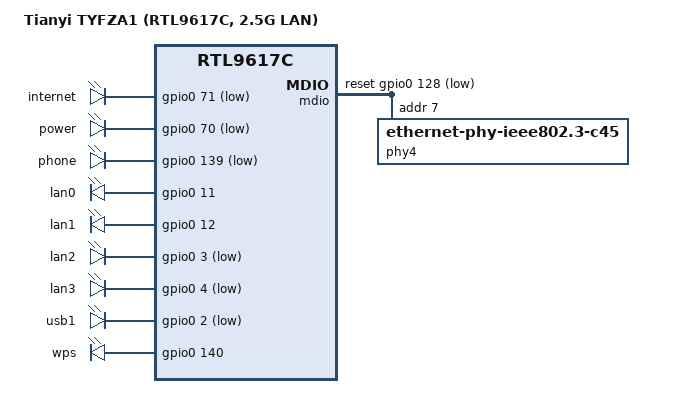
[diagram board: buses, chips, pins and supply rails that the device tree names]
// SPDX-License-Identifier: GPL-2.0-only
// Original conf-0/fdt@0, verified against the 2.5G board's running FDT.
/ {
	model = "Tianyi TYFZA1 (RTL9617C, 2.5G LAN)";
	compatible = "tianyi,tyfza1-2p5g", "tianyi,tyfza1", "realtek,rtl9617c";

	leds {
		/delete-node/ usb0;
		internet { gpios = <&gpio0 71 GPIO_ACTIVE_LOW>; };
		power { gpios = <&gpio0 70 GPIO_ACTIVE_LOW>; };
		phone { gpios = <&gpio0 139 GPIO_ACTIVE_LOW>; };
		lan0 { gpios = <&gpio0 11 GPIO_ACTIVE_HIGH>; };
		lan1 { gpios = <&gpio0 12 GPIO_ACTIVE_HIGH>; };
		lan2 { gpios = <&gpio0 3 GPIO_ACTIVE_LOW>; };
		lan3 { gpios = <&gpio0 4 GPIO_ACTIVE_LOW>; };
		usb1 { gpios = <&gpio0 2 GPIO_ACTIVE_LOW>; };
		wps { gpios = <&gpio0 140 GPIO_ACTIVE_HIGH>; };
	};

	led-button {
		lights-toggle { gpios = <&gpio0 66 GPIO_ACTIVE_LOW>; };
	};
};

&ni0 {
	// Physical jacks use NI ports 0,1,2,4; internal port3 is unwired.
	realtek,lan-phys = <&phy0 &phy1 &phy2 0 &phy4>;
	phys = <&pcie_controls 5>;
	phy-names = "sgmii";
};

&mdio {
	external-phy-enable-gpios = <&gpio0 14 GPIO_ACTIVE_HIGH>;
	// Bus reset runs before reading the external PHY's Clause45 ID.
	reset-gpios = <&gpio0 128 GPIO_ACTIVE_LOW>;
	reset-delay-us = <30000>;
	reset-post-delay-us = <300000>;
	phy4: ethernet-phy@7 {
		compatible = "ethernet-phy-ieee802.3-c45";
		reg = <7>;
		realtek,hsgmii;
	};
};
